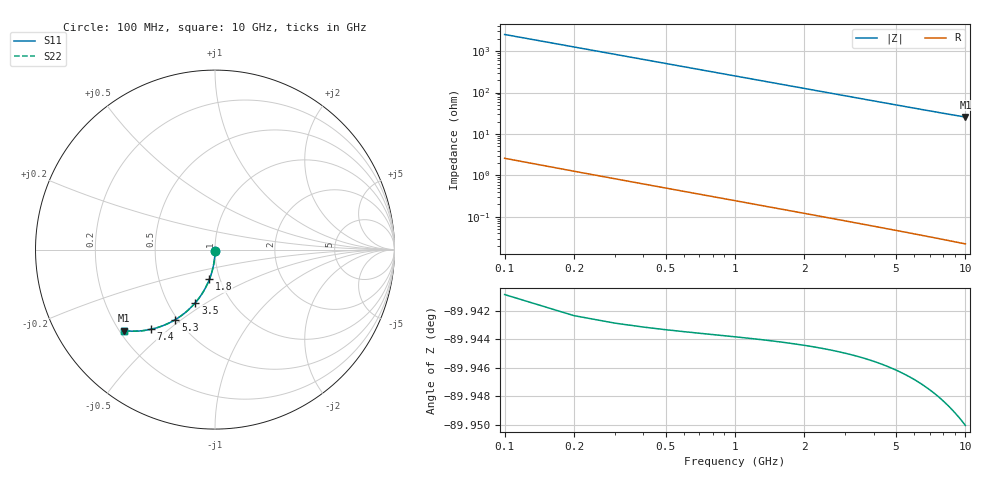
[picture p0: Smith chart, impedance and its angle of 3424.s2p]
# Hz S RI R 50.00
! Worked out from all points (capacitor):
!   100 points, 100 MHz to 10 GHz, reference 50 ohm
!   read as one part in shunt: C = 632 fF near 100 MHz
!   lowest |Z| = 25.6 ohm at 10 GHz (marker M1)
!   S11 on the Smith chart (normalised r, x): 100 MHz: 1.00, -0.02; 1.8 GHz: 0.89, -0.30; 3.5 GHz: 0.68, -0.45; 5.3 GHz: 0.49, -0.47; 7.4 GHz: 0.33, -0.43; 10 GHz: 0.22, -0.36
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1e8  -5.5e-06 -0.00946  0.9998 -0.0104  0.9998 -0.0104  -5.5e-06 -0.00946
2e8  -0.000309 -0.0189  0.9995 -0.0208  0.9995 -0.0208  -0.000309 -0.0189
3e8  -0.00081 -0.0284  0.999 -0.0312  0.999 -0.0312  -0.00081 -0.0284
4e8  -0.00151 -0.0378  0.9983 -0.0415  0.9983 -0.0415  -0.00151 -0.0378
5e8  -0.0024 -0.0472  0.9974 -0.0518  0.9974 -0.0518  -0.0024 -0.0472
6e8  -0.00348 -0.0566  0.9963 -0.0622  0.9963 -0.0622  -0.00348 -0.0566
8e8  -0.00623 -0.0753  0.9935 -0.0827  0.9935 -0.0827  -0.00623 -0.0753
1.1e9  -0.0118 -0.1029  0.988 -0.1131  0.988 -0.1131  -0.0118 -0.1029
1.4e9  -0.019 -0.13  0.9807 -0.143  0.9807 -0.143  -0.019 -0.13
1.8e9  -0.0311 -0.1651  0.9686 -0.1819  0.9686 -0.1819  -0.0311 -0.1651
2.1e9  -0.0419 -0.1905  0.9577 -0.2101  0.9577 -0.2101  -0.0419 -0.1905
2.5e9  -0.0584 -0.2229  0.9411 -0.2462  0.9411 -0.2462  -0.0584 -0.2229
2.9e9  -0.0772 -0.2534  0.9222 -0.2804  0.9222 -0.2804  -0.0772 -0.2534
3.4e9  -0.1034 -0.2885  0.8959 -0.3203  0.8959 -0.3203  -0.1034 -0.2885
3.5e9  -0.1089 -0.2952  0.8903 -0.3279  0.8903 -0.3279  -0.1089 -0.2952
4.3e9  -0.1563 -0.343  0.8426 -0.3833  0.8426 -0.3833  -0.1563 -0.343
5.1e9  -0.2075 -0.3815  0.7911 -0.4295  0.7911 -0.4295  -0.2075 -0.3815
5.3e9  -0.2207 -0.3897  0.7779 -0.4396  0.7779 -0.4396  -0.2207 -0.3897
6.7e9  -0.3134 -0.432  0.6844 -0.4956  0.6844 -0.4956  -0.3134 -0.432
7.4e9  -0.3586 -0.4443  0.6386 -0.5147  0.6386 -0.5147  -0.3586 -0.4443
8.4e9  -0.4204 -0.4532  0.5761 -0.5336  0.5761 -0.5336  -0.4204 -0.4532
1e10  -0.5095 -0.451  0.4856 -0.5476  0.4856 -0.5476  -0.5095 -0.451
